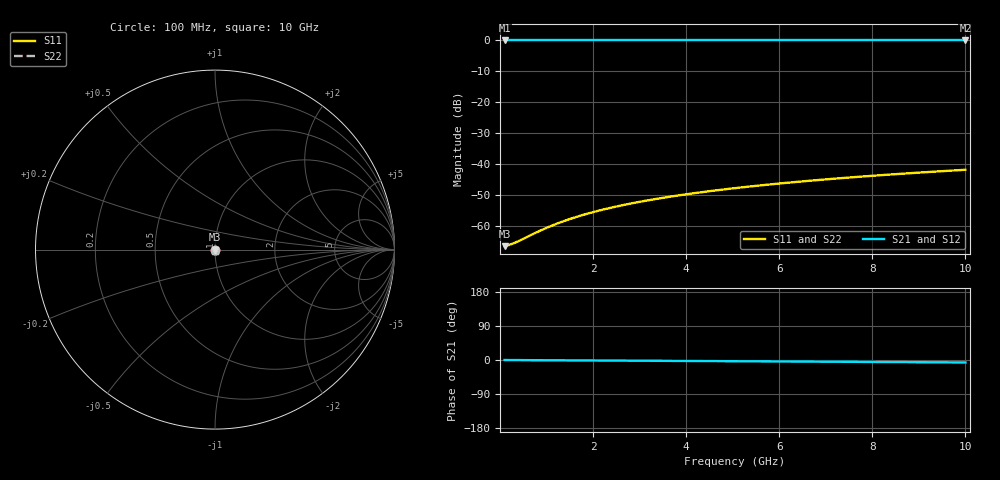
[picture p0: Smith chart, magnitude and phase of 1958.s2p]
# Hz S RI R 50.00
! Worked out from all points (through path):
!   100 points, 100 MHz to 10 GHz, reference 50 ohm
!   highest |S21| = 0.00 dB at 100 MHz (marker M1); lowest = 0.0 dB at 10 GHz (marker M2)
!   lowest |S11| = -66.7 dB at 100 MHz (marker M3), VSWR 1.00, Z = 50 - j0.00796 ohm
!   |S11| at or under -10 dB: start of sweep to end of sweep
!   |S22| runs from -66.7 to -41.9 dB; largest |S21 - S12| = 0
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1e8  0.000457 -7.96e-05  0.9995 -0.00111  0.9995 -0.00111  0.000457 -7.96e-05
2e8  0.00046 -0.000159  0.9995 -0.00223  0.9995 -0.00223  0.00046 -0.000159
3e8  0.000461 -0.000239  0.9995 -0.00334  0.9995 -0.00334  0.000461 -0.000239
4e8  0.000461 -0.000318  0.9995 -0.00445  0.9995 -0.00445  0.000461 -0.000318
7e8  0.000461 -0.000557  0.9995 -0.00779  0.9995 -0.00779  0.000461 -0.000557
9e8  0.00046 -0.000717  0.9995 -0.01  0.9995 -0.01  0.00046 -0.000717
1.2e9  0.000455 -0.000956  0.9994 -0.0134  0.9994 -0.0134  0.000455 -0.000956
1.5e9  0.000449 -0.0012  0.9994 -0.0167  0.9994 -0.0167  0.000449 -0.0012
1.8e9  0.000441 -0.00143  0.9993 -0.02  0.9993 -0.02  0.000441 -0.00143
2.1e9  0.000431 -0.00167  0.9992 -0.0234  0.9992 -0.0234  0.000431 -0.00167
2.5e9  0.000415 -0.00199  0.9991 -0.0278  0.9991 -0.0278  0.000415 -0.00199
2.9e9  0.000396 -0.00231  0.999 -0.0323  0.999 -0.0323  0.000396 -0.00231
3.4e9  0.000368 -0.00271  0.9988 -0.0379  0.9988 -0.0379  0.000368 -0.00271
3.8e9  0.000343 -0.00304  0.9986 -0.0423  0.9986 -0.0423  0.000343 -0.00304
4.2e9  0.000314 -0.00336  0.9984 -0.0468  0.9984 -0.0468  0.000314 -0.00336
4.6e9  0.000283 -0.00368  0.9982 -0.0512  0.9982 -0.0512  0.000283 -0.00368
5.1e9  0.00024 -0.00408  0.9978 -0.0568  0.9978 -0.0568  0.00024 -0.00408
5.9e9  0.000161 -0.00472  0.9973 -0.0658  0.9973 -0.0658  0.000161 -0.00472
6.7e9  7.03e-05 -0.00537  0.9966 -0.0747  0.9966 -0.0747  7.03e-05 -0.00537
7.5e9  -3.18e-05 -0.00601  0.9959 -0.0836  0.9959 -0.0836  -3.18e-05 -0.00601
8.4e9  -0.000161 -0.00673  0.995 -0.0937  0.995 -0.0937  -0.000161 -0.00673
1e10  -0.000426 -0.00801  0.9931 -0.1115  0.9931 -0.1115  -0.000426 -0.00801
